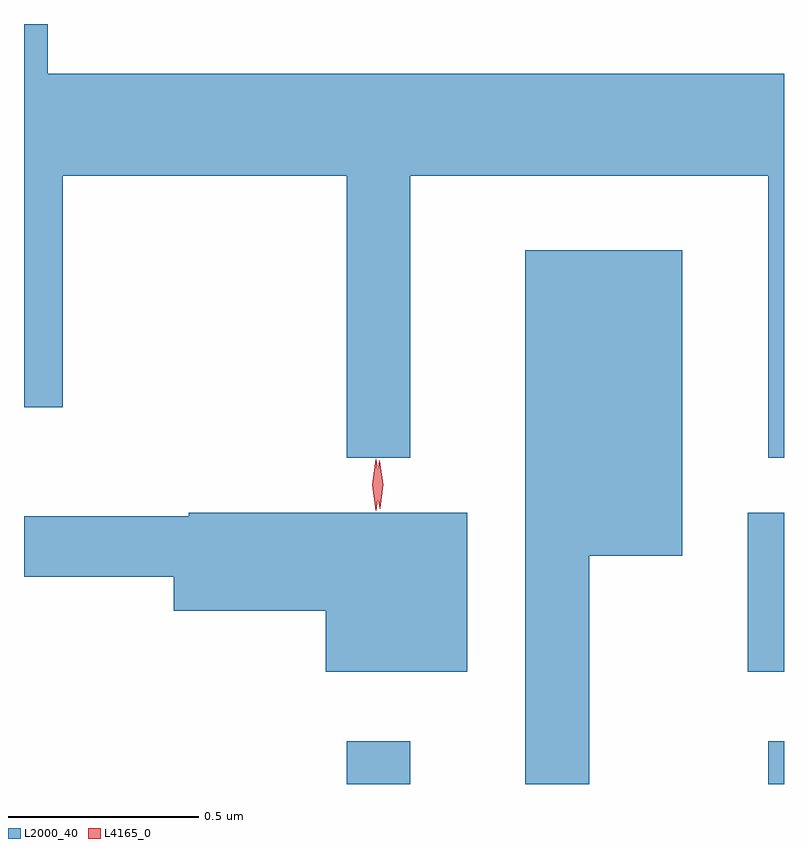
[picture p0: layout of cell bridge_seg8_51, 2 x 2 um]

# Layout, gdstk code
import gdstk
lib = gdstk.Library(unit=1e-6, precision=1e-09)
def R(c, l, rs):  # rectangles x0, y0, x1, y1
    for r in rs: c.add(gdstk.rectangle(r[:2], r[2:], *l))
def P(c, l, *ps):  # polygons
    for p in ps: c.add(gdstk.Polygon(p, *l))
L2000_40 = (2000, 40)
L4165_0 = (4165, 0)

bridge_seg8_51 = lib.new_cell('bridge_seg8_51')
R(bridge_seg8_51, L2000_40, [(1494.811,1908.075,1494.979,1908.188), (1495.921,1908.075,1495.962,1908.188), (1495.866,1908.371,1495.962,1908.789)])
P(bridge_seg8_51, L2000_40, [(1494.979,1909.676),(1495.921,1909.676),(1495.921,1908.933),(1495.962,1908.933),(1495.962,1909.944),(1494.024,1909.944),(1494.024,1910.075),(1493.962,1910.075),(1493.962,1909.066),(1494.064,1909.066),(1494.064,1909.676),(1494.811,1909.676),(1494.811,1908.933),(1494.979,1908.933)],
  [(1495.449,1908.676),(1495.694,1908.676),(1495.694,1909.479),(1495.281,1909.479),(1495.281,1908.075),(1495.449,1908.075)],
  [(1495.129,1908.789),(1494.395,1908.789),(1494.395,1908.779),(1493.962,1908.779),(1493.962,1908.621),(1494.356,1908.621),(1494.356,1908.531),(1494.756,1908.531),(1494.756,1908.371),(1495.129,1908.371)])
P(bridge_seg8_51, L4165_0, [(1494.898,1908.8),(1494.898,1908.8),(1494.888,1908.863),(1494.897,1908.926),(1494.898,1908.927),(1494.898,1908.926),(1494.908,1908.863),(1494.899,1908.8)],
  [(1494.888,1908.794),(1494.879,1908.862),(1494.888,1908.93),(1494.888,1908.93),(1494.889,1908.93),(1494.898,1908.862),(1494.889,1908.794),(1494.889,1908.794)])

lib.write_gds('bridge_seg8_51.gds')
